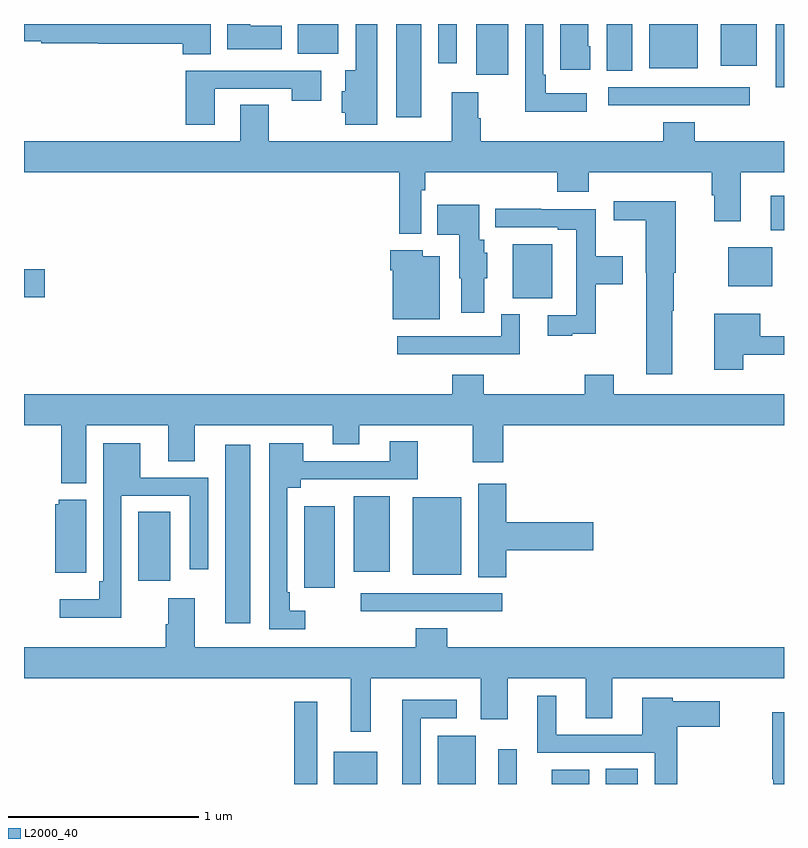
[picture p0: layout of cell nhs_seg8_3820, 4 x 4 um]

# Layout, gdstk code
import gdstk
lib = gdstk.Library(unit=1e-6, precision=1e-09)
def R(c, l, rs):  # rectangles x0, y0, x1, y1
    for r in rs: c.add(gdstk.rectangle(r[:2], r[2:], *l))
def P(c, l, *ps):  # polygons
    for p in ps: c.add(gdstk.Polygon(p, *l))
L2000_40 = (2000, 40)

nhs_seg8_3820 = lib.new_cell('nhs_seg8_3820')
R(nhs_seg8_3820, L2000_40, [(346.422,1159.9,346.543,1160.332), (346.631,1159.9,346.858,1160.071), (347.177,1159.9,347.377,1160.155), (347.496,1159.9,347.594,1160.083), (347.777,1159.9,347.974,1159.975), (348.062,1159.9,348.229,1159.979), (346.058,1160.745,346.192,1161.685), (346.773,1160.808,347.518,1160.904), (346.475,1160.934,346.636,1161.361), (345.602,1160.97,345.769,1161.332), (347.045,1161.002,347.302,1161.409), (346.736,1161.017,346.924,1161.415), (347.573,1162.457,347.779,1162.741), (345,1162.463,345.109,1162.61), (348.707,1162.52,348.937,1162.726), (348.929,1162.815,349,1162.996), (346.958,1163.409,347.092,1163.9), (348.075,1163.472,348.82,1163.568), (348.956,1163.567,349,1163.9), (347.381,1163.634,347.548,1163.9), (348.068,1163.653,348.202,1163.9), (348.29,1163.666,348.547,1163.9), (348.668,1163.681,348.856,1163.9), (347.181,1163.694,347.277,1163.9), (346.442,1163.744,346.654,1163.9)])
P(nhs_seg8_3820, L2000_40, [(346.357,1163.89),(346.192,1163.89),(346.192,1163.9),(346.07,1163.9),(346.07,1163.768),(346.357,1163.768)],
  [(346.858,1163.9),(346.745,1163.9),(346.745,1163.656),(346.691,1163.656),(346.691,1163.547),(346.673,1163.547),(346.673,1163.433),(346.691,1163.433),(346.691,1163.37),(346.858,1163.37)],
  [(347.962,1163.535),(347.745,1163.535),(347.745,1163.632),(347.733,1163.632),(347.733,1163.9),(347.637,1163.9),(347.637,1163.438),(347.962,1163.438)],
  [(345.982,1163.9),(345,1163.9),(345,1163.808),(345.09,1163.808),(345.09,1163.8),(345.39,1163.8),(345.39,1163.795),(345.836,1163.795),(345.836,1163.74),(345.982,1163.74)],
  [(347.98,1163.784),(347.971,1163.784),(347.971,1163.9),(347.822,1163.9),(347.822,1163.658),(347.98,1163.658)],
  [(346.003,1163.559),(346.408,1163.559),(346.408,1163.496),(346.564,1163.496),(346.564,1163.655),(345.851,1163.655),(345.851,1163.37),(346.003,1163.37)],
  [(347.091,1163.024),(347.111,1163.024),(347.111,1163.12),(347.807,1163.12),(347.807,1163.018),(347.972,1163.018),(347.972,1163.12),(348.62,1163.12),(348.62,1163),(348.632,1163),(348.632,1162.863),(348.772,1162.863),(348.772,1163.12),(349,1163.12),(349,1163.284),(348.53,1163.284),(348.53,1163.383),(348.365,1163.383),(348.365,1163.284),(347.405,1163.284),(347.405,1163.405),(347.392,1163.405),(347.392,1163.542),(347.252,1163.542),(347.252,1163.284),(346.287,1163.284),(346.287,1163.474),(346.139,1163.474),(346.139,1163.284),(345,1163.284),(345,1163.12),(346.975,1163.12),(346.975,1162.797),(347.091,1162.797)],
  [(348.412,1162.39),(348.42,1162.39),(348.42,1162.59),(348.43,1162.59),(348.43,1162.966),(348.105,1162.966),(348.105,1162.868),(348.272,1162.868),(348.272,1162.59),(348.275,1162.59),(348.275,1162.056),(348.412,1162.056)],
  [(347.422,1162.563),(347.437,1162.563),(347.437,1162.695),(347.422,1162.695),(347.422,1162.764),(347.395,1162.764),(347.395,1162.948),(347.176,1162.948),(347.176,1162.79),(347.291,1162.79),(347.291,1162.563),(347.3,1162.563),(347.3,1162.38),(347.422,1162.38)],
  [(347.885,1162.271),(348.008,1162.271),(348.008,1162.531),(348.151,1162.531),(348.151,1162.678),(348.008,1162.678),(348.008,1162.926),(347.723,1162.926),(347.723,1162.928),(347.481,1162.928),(347.481,1162.83),(347.81,1162.83),(347.81,1162.818),(347.907,1162.818),(347.907,1162.368),(347.757,1162.368),(347.757,1162.26),(347.885,1162.26)],
  [(347.188,1162.678),(347.098,1162.678),(347.098,1162.708),(346.928,1162.708),(346.928,1162.604),(346.94,1162.604),(346.94,1162.346),(347.188,1162.346)],
  [(348.785,1162.16),(349,1162.16),(349,1162.257),(348.874,1162.257),(348.874,1162.375),(348.632,1162.375),(348.632,1162.08),(348.785,1162.08)],
  [(347.608,1162.372),(347.511,1162.372),(347.511,1162.257),(346.965,1162.257),(346.965,1162.161),(347.608,1162.161)],
  [(345.328,1161.788),(345.758,1161.788),(345.758,1161.598),(345.898,1161.598),(345.898,1161.788),(346.625,1161.788),(346.625,1161.689),(346.765,1161.689),(346.765,1161.788),(347.362,1161.788),(347.362,1161.594),(347.522,1161.594),(347.522,1161.788),(349,1161.788),(349,1161.952),(348.103,1161.952),(348.103,1162.054),(347.951,1162.054),(347.951,1161.952),(347.42,1161.952),(347.42,1162.054),(347.255,1162.054),(347.255,1161.952),(345,1161.952),(345,1161.788),(345.197,1161.788),(345.197,1161.482),(345.328,1161.482)],
  [(346.48,1160.811),(346.398,1160.811),(346.398,1160.908),(346.386,1160.908),(346.386,1161.458),(346.456,1161.458),(346.456,1161.504),(347.073,1161.504),(347.073,1161.703),(346.925,1161.703),(346.925,1161.6),(346.471,1161.6),(346.471,1161.694),(346.29,1161.694),(346.29,1160.715),(346.48,1160.715)],
  [(345.513,1161.417),(345.873,1161.417),(345.873,1161.03),(345.969,1161.03),(345.969,1161.513),(345.613,1161.513),(345.613,1161.694),(345.417,1161.694),(345.417,1160.968),(345.397,1160.968),(345.397,1160.872),(345.189,1160.872),(345.189,1160.774),(345.513,1160.774)],
  [(347.537,1161.131),(347.995,1161.131),(347.995,1161.278),(347.537,1161.278),(347.537,1161.481),(347.39,1161.481),(347.39,1160.989),(347.537,1160.989)],
  [(345.328,1161.397),(345.183,1161.397),(345.183,1161.372),(345.164,1161.372),(345.164,1161.011),(345.328,1161.011)],
  [(346.825,1160.456),(347.405,1160.456),(347.405,1160.241),(347.545,1160.241),(347.545,1160.456),(347.957,1160.456),(347.957,1160.245),(348.097,1160.245),(348.097,1160.456),(349,1160.456),(349,1160.62),(347.228,1160.62),(347.228,1160.719),(347.063,1160.719),(347.063,1160.62),(345.898,1160.62),(345.898,1160.878),(345.758,1160.878),(345.758,1160.741),(345.746,1160.741),(345.746,1160.62),(345,1160.62),(345,1160.456),(346.721,1160.456),(346.721,1160.175),(346.825,1160.175)],
  [(348.437,1160.201),(348.661,1160.201),(348.661,1160.335),(348.414,1160.335),(348.414,1160.353),(348.254,1160.353),(348.254,1160.16),(347.8,1160.16),(347.8,1160.365),(347.702,1160.365),(347.702,1160.064),(348.321,1160.064),(348.321,1159.9),(348.437,1159.9)],
  [(347.088,1160.247),(347.278,1160.247),(347.278,1160.343),(346.991,1160.343),(346.991,1159.9),(347.088,1159.9)],
  [(349,1160.278),(348.938,1160.278),(348.938,1159.926),(348.944,1159.926),(348.944,1159.9),(349,1159.9)])

lib.write_gds('nhs_seg8_3820.gds')
